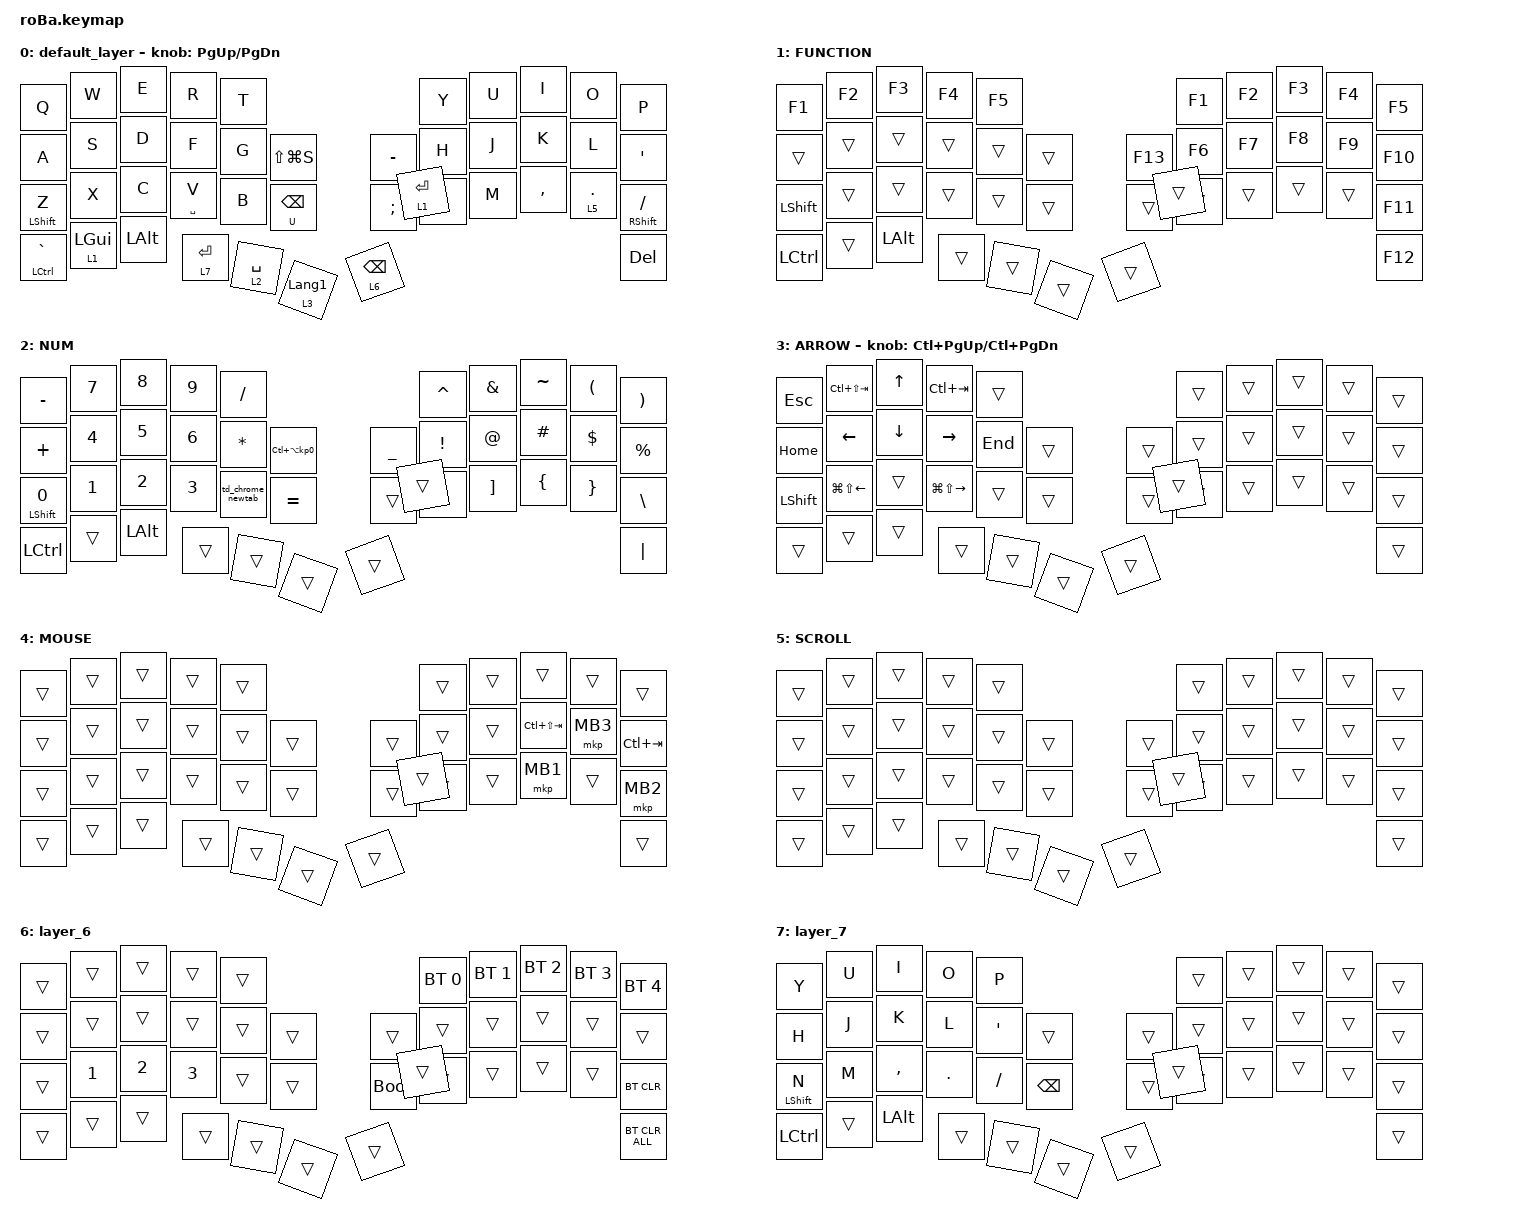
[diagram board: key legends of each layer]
#include <behaviors.dtsi>
#include <dt-bindings/zmk/bt.h>
#include <dt-bindings/zmk/keys.h>
#include <dt-bindings/zmk/pointing.h>

&mt {
    flavor = "balanced";
    quick-tap-ms = <0>;
};

&trackball {
    automouse-layer = <4>;
    scroll-layers = <5>;

    // arrows {
    //     layers = <3>;
    //     bindings =
    //         <&kp RIGHT_ARROW>,
    //         <&kp LEFT_ARROW>,
    //         <&kp UP_ARROW>,
    //         <&kp DOWN_ARROW>;
    //     tick = <10>;
    //     wait-ms = <5>;
    //     tap-ms = <5>;
    // };
};

/ {
    combos {
        compatible = "zmk,combos";

        tab {
            bindings = <&kp TAB>;
            key-positions = <11 10>;
        };

        shift_tab {
            bindings = <&kp LS(TAB)>;
            key-positions = <12 13>;
        };

        esc {
            bindings = <&kp ESC>;
            key-positions = <0 1>;
        };

        Back {
            bindings = <&kp LA(LEFT)>;
            key-positions = <32 33>;
        };

        C_z {
            bindings = <&kp LC(Z)>;
            key-positions = <23 22>;
        };

        C_w {
            bindings = <&kp LC(W)>;
            key-positions = <32 31>;
        };

        Shift_z {
            bindings = <&kp LS(Z)>;
            key-positions = <22 35>;
        };

        Shift_Ctrl_z {
            bindings = <&kp LS(LC(Z))>;
            key-positions = <22 35 34>;
            slow-release;
        };

        Ctrl_H {
            bindings = <&kp LC(H)>;
            key-positions = <24 23>;
            slow-release;
            timeout-ms = <200>;
        };
    };

    macros {
        to_layer_0: to_layer_0 {
            compatible = "zmk,behavior-macro-one-param";
            #binding-cells = <1>;
            bindings = <&to 0 &macro_param_1to1 &kp MACRO_PLACEHOLDER>;
            label = "TO_LAYER_0";
        };
    };

    behaviors {
        lt_to_layer_0: lt_to_layer_0 {
            compatible = "zmk,behavior-hold-tap";
            label = "LAYER_TAP_TO_0";
            bindings = <&mo>, <&to_layer_0>;

            #binding-cells = <2>;
            tapping-term-ms = <200>;
        };

        hm: homerow_mods {
            compatible = "zmk,behavior-hold-tap";
            label = "HOMEROW_MODS";
            bindings = <&kp>, <&kp>;

            #binding-cells = <2>;
            tapping-term-ms = <200>;
            quick-tap-ms = <130>;
            flavor = "tap-preferred";
        };

        td_chrome_newtab: td_chrome_newtab {
            compatible = "zmk,behavior-tap-dance";
            label = "TD_CHROME_NEWTAB";
            #binding-cells = <0>;
            bindings = <&kp PERIOD>, <&kp COMMA>;
        };

        shm: Short_homerow_mods {
            compatible = "zmk,behavior-hold-tap";
            label = "SHORT_HM";
            bindings = <&kp>, <&kp>;

            #binding-cells = <2>;
            tapping-term-ms = <200>;
            flavor = "hold-preferred";
            require-prior-idle-ms = <81>;
        };
    };

    keymap {
        compatible = "zmk,keymap";

        default_layer {
            bindings = <
&kp Q              &kp W                      &kp E         &kp R                   &kp T                                                                     &kp Y        &kp U  &kp I      &kp O      &kp P
&kp A              &kp S                      &kp D         &kp F                   &kp G        &kp LS(LG(S))                    &kp MINUS                   &kp H        &kp J  &kp K      &kp L      &kp SQT
&shm LEFT_SHIFT Z  &kp X                      &kp C         &mt SPACE V             &kp B        &mt U BACKSPACE                  &kp SEMICOLON               &kp N        &kp M  &kp COMMA  &lt 5 DOT  &hm RIGHT_SHIFT SLASH
&shm LCTRL GRAVE   &lt_to_layer_0 1 LEFT_GUI  &kp LEFT_ALT  &lt_to_layer_0 7 ENTER  &lt 2 SPACE  &lt_to_layer_0 3 LANGUAGE_1      &lt_to_layer_0 6 BACKSPACE  &lt 1 ENTER                               &kp DEL
            >;

            sensor-bindings = <&inc_dec_kp PG_UP PAGE_DOWN>;
        };

        FUNCTION {
            bindings = <
&kp F1      &kp F2  &kp F3        &kp F4  &kp F5                       &kp F1  &kp F2  &kp F3  &kp F4  &kp F5
&trans      &trans  &trans        &trans  &trans  &trans      &kp F13  &kp F6  &kp F7  &kp F8  &kp F9  &kp F10
&kp LSHIFT  &trans  &trans        &trans  &trans  &trans      &trans   &trans  &trans  &trans  &trans  &kp F11
&kp LCTRL   &trans  &kp LEFT_ALT  &trans  &trans  &trans      &trans   &trans                          &kp F12
            >;
        };

        NUM {
            bindings = <
&kp MINUS          &kp N7  &kp N8        &kp N9  &kp SLASH                                                       &kp CARET         &kp AMPERSAND      &kp TILDE       &kp LEFT_PARENTHESIS  &kp RIGHT_PARENTHESIS
&kp PLUS           &kp N4  &kp N5        &kp N6  &kp ASTERISK       &kp LC(LA(KP_NUMBER_0))      &kp UNDERSCORE  &kp EXCLAMATION   &kp AT_SIGN        &kp HASH        &kp DOLLAR            &kp PERCENT
&mt LEFT_SHIFT N0  &kp N1  &kp N2        &kp N3  &td_chrome_newtab  &kp EQUAL                    &trans          &kp LEFT_BRACKET  &kp RIGHT_BRACKET  &kp LEFT_BRACE  &kp RIGHT_BRACE       &kp BACKSLASH
&kp LCTRL          &trans  &kp LEFT_ALT  &trans  &trans             &trans                       &trans          &trans                                                                     &kp PIPE
            >;
        };

        ARROW {
            bindings = <
&kp ESCAPE      &kp LC(LS(TAB))         &kp UP_ARROW    &kp LC(TAB)              &trans                       &trans  &trans  &trans  &trans  &trans
&kp HOME        &kp LEFT_ARROW          &kp DOWN_ARROW  &kp RIGHT_ARROW          &kp END  &trans      &trans  &trans  &trans  &trans  &trans  &trans
&kp LEFT_SHIFT  &kp LG(LS(LEFT_ARROW))  &trans          &kp LG(LS(RIGHT_ARROW))  &trans   &trans      &trans  &trans  &trans  &trans  &trans  &trans
&trans          &trans                  &trans          &trans                   &trans   &trans      &trans  &trans                          &trans
            >;

            sensor-bindings = <&inc_dec_kp LC(PAGE_UP) LC(PAGE_DOWN)>;
        };

        MOUSE {
            bindings = <
&trans  &trans  &trans  &trans  &trans                      &trans  &trans  &trans           &trans    &trans
&trans  &trans  &trans  &trans  &trans  &trans      &trans  &trans  &trans  &kp LC(LS(TAB))  &mkp MB3  &kp LC(TAB)
&trans  &trans  &trans  &trans  &trans  &trans      &trans  &trans  &trans  &mkp MB1         &trans    &mkp MB2
&trans  &trans  &trans  &trans  &trans  &trans      &trans  &trans                                     &trans
            >;
        };

        SCROLL {
            bindings = <
&trans  &trans  &trans  &trans  &trans                      &trans  &trans  &trans  &trans  &trans
&trans  &trans  &trans  &trans  &trans  &trans      &trans  &trans  &trans  &trans  &trans  &trans
&trans  &trans  &trans  &trans  &trans  &trans      &trans  &trans  &trans  &trans  &trans  &trans
&trans  &trans  &trans  &trans  &trans  &trans      &trans  &trans                          &trans
            >;
        };

        layer_6 {
            bindings = <
&trans  &trans        &trans        &trans        &trans                           &bt BT_SEL 0  &bt BT_SEL 1  &bt BT_SEL 2  &bt BT_SEL 3  &bt BT_SEL 4
&trans  &trans        &trans        &trans        &trans  &trans      &trans       &trans        &trans        &trans        &trans        &trans
&trans  &kp NUMBER_1  &kp NUMBER_2  &kp NUMBER_3  &trans  &trans      &bootloader  &trans        &trans        &trans        &trans        &bt BT_CLR
&trans  &trans        &trans        &trans        &trans  &trans      &trans       &trans                                                  &bt BT_CLR_ALL
            >;
        };

        layer_7 {
            bindings = <
&kp Y             &kp U   &kp I         &kp O    &kp P                                &trans  &trans  &trans  &trans  &trans
&kp H             &kp J   &kp K         &kp L    &kp SQT   &trans             &trans  &trans  &trans  &trans  &trans  &trans
&hm LEFT_SHIFT N  &kp M   &kp COMMA     &kp DOT  &kp FSLH  &kp BACKSPACE      &trans  &trans  &trans  &trans  &trans  &trans
&kp LCTRL         &trans  &kp LEFT_ALT  &trans   &trans    &trans             &trans  &trans                          &trans
            >;
        };
    };
};
